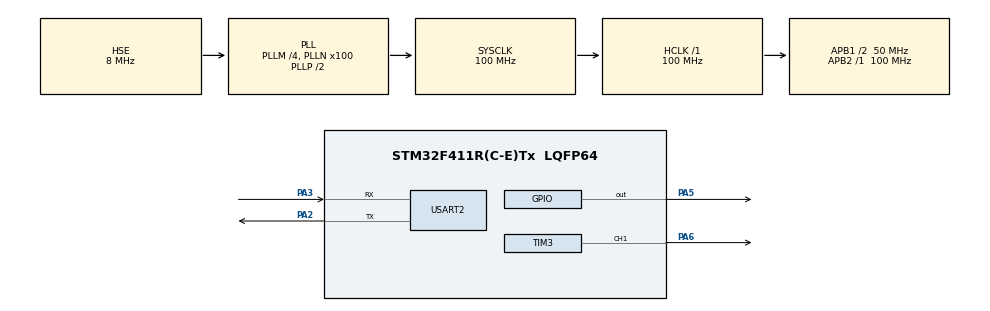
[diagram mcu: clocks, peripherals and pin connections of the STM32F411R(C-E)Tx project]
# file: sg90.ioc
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Mcu.Family=STM32F4
Mcu.Name=STM32F411R(C-E)Tx
Mcu.Package=LQFP64
NVIC.PriorityGroup=NVIC_PRIORITYGROUP_4
NVIC.USART2_IRQn=true\:0\:0\:false\:false\:true\:true\:true\:true
PA13.Mode=Serial_Wire
PA13.Signal=SYS_JTMS-SWDIO
PA14.Mode=Serial_Wire
PA14.Signal=SYS_JTCK-SWCLK
PA2.Mode=Asynchronous
PA2.Signal=USART2_TX
PA3.Mode=Asynchronous
PA3.Signal=USART2_RX
PA5.GPIO_Speed=GPIO_SPEED_FREQ_HIGH
PA5.Signal=GPIO_Output
PA6.Signal=S_TIM3_CH1
PH0\ -\ OSC_IN.Mode=HSE-External-Oscillator
PH0\ -\ OSC_IN.Signal=RCC_OSC_IN
PH1\ -\ OSC_OUT.Mode=HSE-External-Oscillator
PH1\ -\ OSC_OUT.Signal=RCC_OSC_OUT
ProjectManager.HeapSize=0x200
ProjectManager.StackSize=0x400
ProjectManager.TargetToolchain=STM32CubeIDE
RCC.48MHZClocksFreq_Value=50000000
RCC.AHBFreq_Value=100000000
RCC.APB1CLKDivider=RCC_HCLK_DIV2
RCC.APB1Freq_Value=50000000
RCC.APB1TimFreq_Value=100000000
RCC.APB2Freq_Value=100000000
RCC.APB2TimFreq_Value=100000000
RCC.CortexFreq_Value=100000000
RCC.HCLKFreq_Value=100000000
RCC.HSE_VALUE=8000000
RCC.HSI_VALUE=16000000
RCC.LSE_VALUE=32768
RCC.PLLM=4
RCC.PLLN=100
RCC.PLLSourceVirtual=RCC_PLLSOURCE_HSE
RCC.SYSCLKFreq_VALUE=100000000
RCC.SYSCLKSource=RCC_SYSCLKSOURCE_PLLCLK
RCC.VCOOutputFreq_Value=200000000
SH.S_TIM3_CH1.0=TIM3_CH1,PWM Generation1 CH1
TIM3.Channel-PWM\ Generation1\ CH1=TIM_CHANNEL_1
TIM3.Period=1000-1
TIM3.Prescaler=2000-1
USART2.VirtualMode=VM_ASYNC
VP_TIM3_VS_ClockSourceINT.Mode=Internal
board=custom

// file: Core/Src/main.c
/* USER CODE BEGIN Header */
/**
  ******************************************************************************
  * @file           : main.c
  * @brief          : Main program body
  ******************************************************************************
  * @attention
  *
  * Copyright (c) 2023 STMicroelectronics.
  * All rights reserved.
  *
  * This software is licensed under terms that can be found in the LICENSE file
  * in the root directory of this software component.
  * If no LICENSE file comes with this software, it is provided AS-IS.
  *
  ******************************************************************************
  */
/* USER CODE END Header */
#include "main.h"
#include "tim.h"
#include "usart.h"
#include "gpio.h"

/* USER CODE BEGIN PV */
uint8_t rxData[1];
uint8_t dutyValue;
/* USER CODE END PV */

void SystemClock_Config(void);
/* USER CODE BEGIN PFP */
void HAL_UART_RxCpltCallback(UART_HandleTypeDef *huart)
{
  if(huart->Instance==USART2)
  {
    HAL_UART_Receive_IT(&huart2, rxData, sizeof(rxData));
    HAL_UART_Transmit_IT(&huart2, rxData, sizeof(rxData));
  }
}
/* USER CODE END PFP */

int main(void)
{

  /* MCU Configuration--------------------------------------------------------*/

  /* Reset of all peripherals, Initializes the Flash interface and the Systick. */
  HAL_Init();

  /* Configure the system clock */
  SystemClock_Config();

  /* Initialize all configured peripherals */
  MX_GPIO_Init();
  MX_TIM3_Init();
  MX_USART2_UART_Init();
  /* USER CODE BEGIN 2 */
  HAL_TIM_PWM_Start(&htim3, TIM_CHANNEL_1);
  HAL_UART_Receive_IT(&huart2, rxData, sizeof(rxData));
  /* USER CODE END 2 */

  /* Infinite loop */
  while (1)
  {

    /* USER CODE BEGIN 3 */
    if (rxData[0] == 'a' || rxData[0] == 'b' || rxData[0] == 'c')
    {
      dutyValue = rxData[0];

      switch (dutyValue)
      {
        case 'a':
          TIM3->CCR1 = 0;
          break;

        case 'b':
          TIM3->CCR1 = 75;
          break;

        case 'c':
          TIM3->CCR1 = 125;
          break;
        default:
          break;
      }
    }
  }
  /* USER CODE END 3 */
}

void SystemClock_Config(void)
{
  RCC_OscInitTypeDef RCC_OscInitStruct = {0};
  RCC_ClkInitTypeDef RCC_ClkInitStruct = {0};

  /** Configure the main internal regulator output voltage
  */
  __HAL_RCC_PWR_CLK_ENABLE();
  __HAL_PWR_VOLTAGESCALING_CONFIG(PWR_REGULATOR_VOLTAGE_SCALE1);

  /** Initializes the RCC Oscillators according to the specified parameters
  * in the RCC_OscInitTypeDef structure.
  */
  RCC_OscInitStruct.OscillatorType = RCC_OSCILLATORTYPE_HSE;
  RCC_OscInitStruct.HSEState = RCC_HSE_ON;
  RCC_OscInitStruct.PLL.PLLState = RCC_PLL_ON;
  RCC_OscInitStruct.PLL.PLLSource = RCC_PLLSOURCE_HSE;
  RCC_OscInitStruct.PLL.PLLM = 4;
  RCC_OscInitStruct.PLL.PLLN = 100;
  RCC_OscInitStruct.PLL.PLLP = RCC_PLLP_DIV2;
  RCC_OscInitStruct.PLL.PLLQ = 4;
  if (HAL_RCC_OscConfig(&RCC_OscInitStruct) != HAL_OK)
  {
    Error_Handler();
  }

  /** Initializes the CPU, AHB and APB buses clocks
  */
  RCC_ClkInitStruct.ClockType = RCC_CLOCKTYPE_HCLK|RCC_CLOCKTYPE_SYSCLK
                              |RCC_CLOCKTYPE_PCLK1|RCC_CLOCKTYPE_PCLK2;
  RCC_ClkInitStruct.SYSCLKSource = RCC_SYSCLKSOURCE_PLLCLK;
  RCC_ClkInitStruct.AHBCLKDivider = RCC_SYSCLK_DIV1;
  RCC_ClkInitStruct.APB1CLKDivider = RCC_HCLK_DIV2;
  RCC_ClkInitStruct.APB2CLKDivider = RCC_HCLK_DIV1;

  if (HAL_RCC_ClockConfig(&RCC_ClkInitStruct, FLASH_LATENCY_3) != HAL_OK)
  {
    Error_Handler();
  }
}

void Error_Handler(void)
{
  __disable_irq();
  while (1)
  {
  }
}
